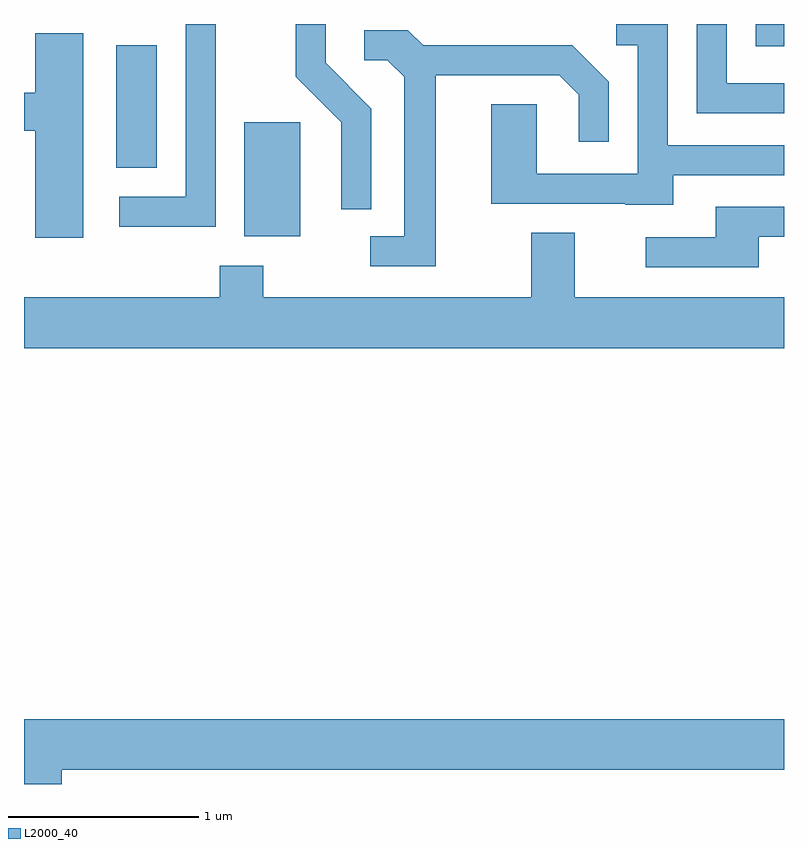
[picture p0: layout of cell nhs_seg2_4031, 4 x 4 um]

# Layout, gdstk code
import gdstk
lib = gdstk.Library(unit=1e-6, precision=1e-09)
def R(c, l, rs):  # rectangles x0, y0, x1, y1
    for r in rs: c.add(gdstk.rectangle(r[:2], r[2:], *l))
def P(c, l, *ps):  # polygons
    for p in ps: c.add(gdstk.Polygon(p, *l))
L2000_40 = (2000, 40)

nhs_seg2_4031 = lib.new_cell('nhs_seg2_4031')
R(nhs_seg2_4031, L2000_40, [(304.771,1046.686,305.064,1047.284), (304.096,1047.046,304.309,1047.689), (307.461,1047.686,307.611,1047.802)])
P(nhs_seg2_4031, L2000_40, [(304.619,1047.802),(304.461,1047.802),(304.461,1046.894),(304.113,1046.894),(304.113,1046.736),(304.619,1046.736)],
  [(305.439,1047.357),(305.199,1047.597),(305.199,1047.802),(305.041,1047.802),(305.041,1047.524),(305.281,1047.284),(305.281,1046.828),(305.439,1046.828)],
  [(307.611,1047.489),(307.309,1047.489),(307.309,1047.802),(307.151,1047.802),(307.151,1047.331),(307.611,1047.331)],
  [(307.029,1047.006),(307.611,1047.006),(307.611,1047.164),(306.999,1047.164),(306.999,1047.802),(306.728,1047.802),(306.728,1047.691),(306.841,1047.691),(306.841,1047.014),(306.309,1047.014),(306.309,1047.379),(306.071,1047.379),(306.071,1046.856),(306.775,1046.856),(306.775,1046.851),(307.029,1046.851)],
  [(305.779,1047.531),(306.429,1047.531),(306.531,1047.429),(306.531,1047.183),(306.689,1047.183),(306.689,1047.497),(306.497,1047.689),(305.712,1047.689),(305.632,1047.769),(305.403,1047.769),(305.403,1047.611),(305.524,1047.611),(305.611,1047.524),(305.611,1046.684),(305.433,1046.684),(305.433,1046.526),(305.779,1046.526)],
  [(303.924,1047.754),(303.671,1047.754),(303.671,1047.439),(303.611,1047.439),(303.611,1047.241),(303.671,1047.241),(303.671,1046.676),(303.924,1046.676)],
  [(307.479,1046.681),(307.611,1046.681),(307.611,1046.839),(307.251,1046.839),(307.251,1046.679),(306.883,1046.679),(306.883,1046.521),(307.479,1046.521)],
  [(307.611,1046.364),(306.509,1046.364),(306.509,1046.704),(306.281,1046.704),(306.281,1046.364),(304.869,1046.364),(304.869,1046.529),(304.641,1046.529),(304.641,1046.364),(303.611,1046.364),(303.611,1046.096),(307.611,1046.096)],
  [(303.809,1043.876),(307.611,1043.876),(307.611,1044.144),(303.611,1044.144),(303.611,1043.802),(303.809,1043.802)])

lib.write_gds('nhs_seg2_4031.gds')
